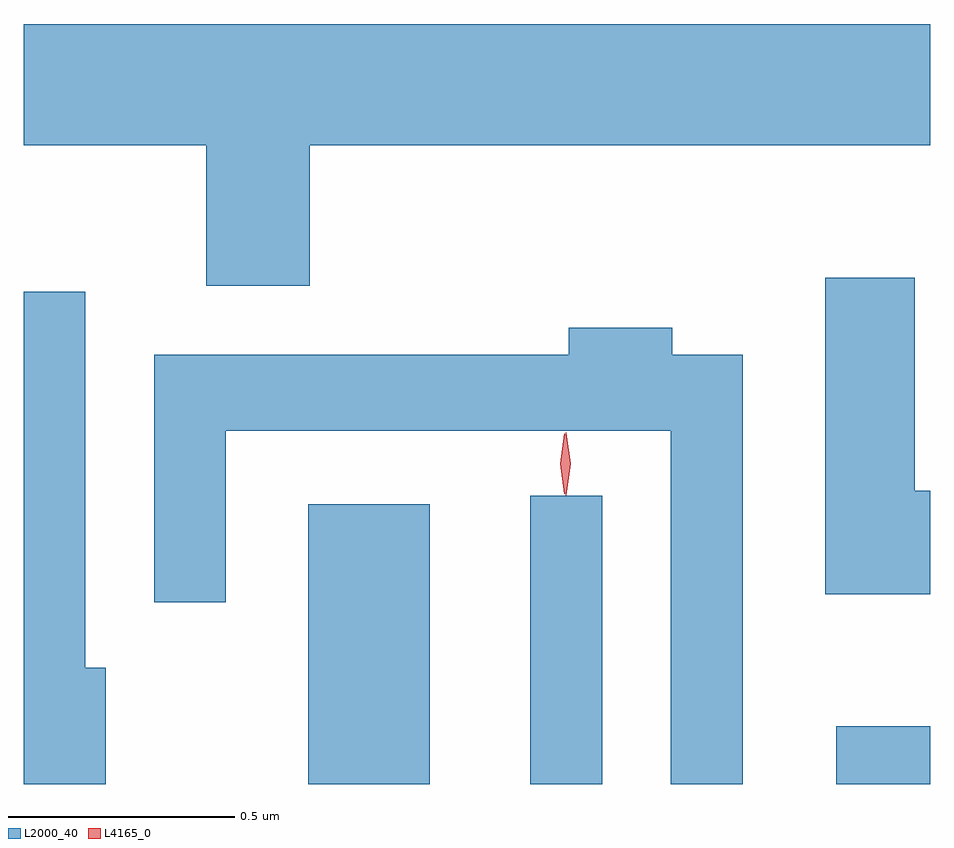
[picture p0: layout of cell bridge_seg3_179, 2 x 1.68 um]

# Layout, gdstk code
import gdstk
lib = gdstk.Library(unit=1e-6, precision=1e-09)
def R(c, l, rs):  # rectangles x0, y0, x1, y1
    for r in rs: c.add(gdstk.rectangle(r[:2], r[2:], *l))
def P(c, l, *ps):  # polygons
    for p in ps: c.add(gdstk.Polygon(p, *l))
L2000_40 = (2000, 40)
L4165_0 = (4165, 0)

bridge_seg3_179 = lib.new_cell('bridge_seg3_179')
R(bridge_seg3_179, L2000_40, [(900.876,1186.767,901.144,1187.384), (901.366,1186.767,901.524,1187.403), (902.041,1186.767,902.248,1186.894)])
P(bridge_seg3_179, L2000_40, [(900.879,1188.176),(902.248,1188.176),(902.248,1188.444),(900.248,1188.444),(900.248,1188.176),(900.651,1188.176),(900.651,1187.866),(900.879,1187.866)],
  [(902.248,1187.414),(902.214,1187.414),(902.214,1187.884),(902.016,1187.884),(902.016,1187.186),(902.248,1187.186)],
  [(900.429,1187.024),(900.384,1187.024),(900.384,1187.853),(900.248,1187.853),(900.248,1186.767),(900.429,1186.767)],
  [(901.834,1187.714),(901.679,1187.714),(901.679,1187.774),(901.451,1187.774),(901.451,1187.714),(900.536,1187.714),(900.536,1187.168),(900.694,1187.168),(900.694,1187.546),(901.676,1187.546),(901.676,1186.767),(901.834,1186.767)])
P(bridge_seg3_179, L4165_0, [(901.444,1187.404),(901.435,1187.474),(901.444,1187.542),(901.445,1187.543),(901.445,1187.542),(901.455,1187.474),(901.445,1187.404),(901.445,1187.404)],
  [(901.442,1187.407),(901.441,1187.408),(901.432,1187.474),(901.441,1187.54),(901.442,1187.54),(901.442,1187.54),(901.452,1187.474),(901.442,1187.408)])

lib.write_gds('bridge_seg3_179.gds')
